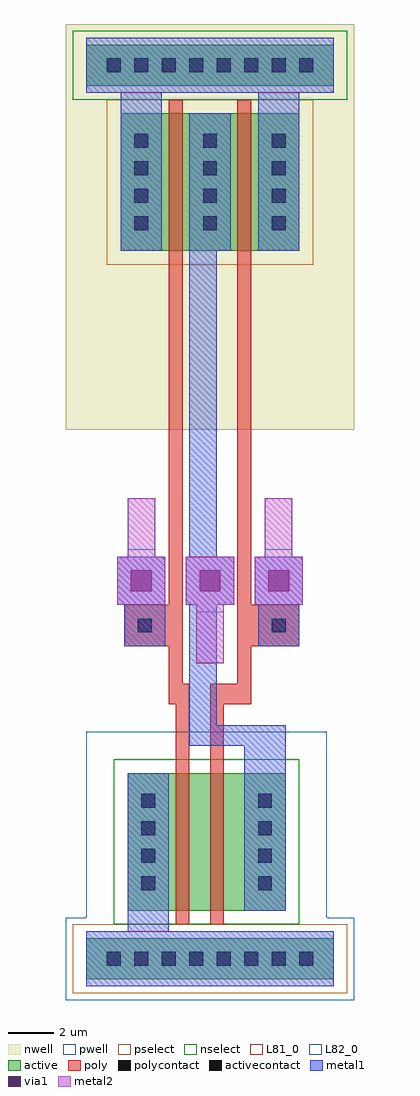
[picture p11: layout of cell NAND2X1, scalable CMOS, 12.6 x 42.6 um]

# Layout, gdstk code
import gdstk
lib = gdstk.Library(unit=1e-6, precision=1e-09)
def R(c, l, rs):  # rectangles x0, y0, x1, y1
    for r in rs: c.add(gdstk.rectangle(r[:2], r[2:], *l))
def A(c, l, x, y, w, h, nx, ny, dx, dy):  # array of equal rectangles
    R(c, l, [(x+i*dx, y+j*dy, x+i*dx+w, y+j*dy+h) for i in range(nx) for j in range(ny)])
pwell = (41, 0)
nwell = (42, 0)
active = (43, 0)
pselect = (44, 0)
nselect = (45, 0)
poly = (46, 0)
polycontact = (47, 0)
activecontact = (48, 0)
metal1 = (49, 0)
via1 = (50, 0)
metal2 = (51, 0)
L81_0 = (81, 0)
L82_0 = (82, 0)

nand2x1 = lib.new_cell('NAND2X1')
R(nand2x1, pwell, [(-1.8,-1.8,10.8,1.8), (-0.9,1.8,9.6,9.9)])
R(nand2x1, nwell, [(-1.8,23.1,10.8,40.8)])
R(nand2x1, active, [(-0.9,-0.9,9.9,0.9), (0.9,2.1,7.8,8.1), (0.6,30.9,8.4,36.9), (-0.9,38.1,9.9,39.9)])
R(nand2x1, pselect, [(-1.5,-1.5,10.5,1.5), (0,30.3,9,37.5)])
R(nand2x1, nselect, [(0.3,1.5,8.4,8.7), (-1.5,37.5,10.5,40.5)])
R(nand2x1, poly, [(3,1.5,3.6,11.1), (4.5,1.5,5.1,11.1), (2.7,11.1,3.6,12), (4.5,11.1,6.3,12), (2.7,12,3.3,13.65), (5.7,12,6.3,13.65), (0.75,13.65,3.3,15.45), (5.7,13.65,8.4,15.45), (2.7,15.45,3.3,37.5), (5.7,15.45,6.3,37.5)])
R(nand2x1, polycontact, [(1.35,14.25,1.95,14.85), (7.2,14.25,7.8,14.85)])
A(nand2x1, activecontact, 0, -0.3, 0.6, 0.6, 8, 2, 1.2, 39)
A(nand2x1, activecontact, 1.5, 3, 0.6, 0.6, 1, 4, 0, 1.2)
A(nand2x1, activecontact, 6.6, 3, 0.6, 0.6, 1, 4, 0, 1.2)
A(nand2x1, activecontact, 1.2, 31.8, 0.6, 0.6, 3, 4, 3, 1.2)
A(nand2x1, metal1, 0.45, 15.45, 2.1, 2.1, 3, 1, 3, 0)
R(nand2x1, metal1, [(-0.9,-1.2,9.9,1.2), (0.9,1.2,2.7,8.1), (6,2.1,7.8,9.3), (3.6,9.3,7.8,10.2), (3.6,10.2,4.8,15.45), (0.75,13.65,2.55,15.45), (6.6,13.65,8.4,15.45), (3.6,17.55,4.8,30.9), (0.6,30.9,2.4,37.8), (3.6,30.9,5.4,36.9), (6.6,30.9,8.4,37.8), (-0.9,37.8,9.9,40.2)])
A(nand2x1, via1, 1.05, 16.05, 0.9, 0.9, 3, 1, 3, 0)
A(nand2x1, metal2, 0.45, 15.45, 2.1, 2.1, 3, 1, 3, 0)
R(nand2x1, metal2, [(3.9,12.9,5.1,15.45), (0.9,17.55,2.1,20.1), (6.9,17.55,8.1,20.1)])
R(nand2x1, L81_0, [(-0.9,-1.2,9.9,1.2), (-0.9,37.8,9.9,40.2)])
R(nand2x1, L82_0, [(3.9,12.9,5.1,15.15), (0.9,17.85,2.1,20.1), (6.9,17.85,8.1,20.1)])

lib.write_gds('NAND2X1.gds')
